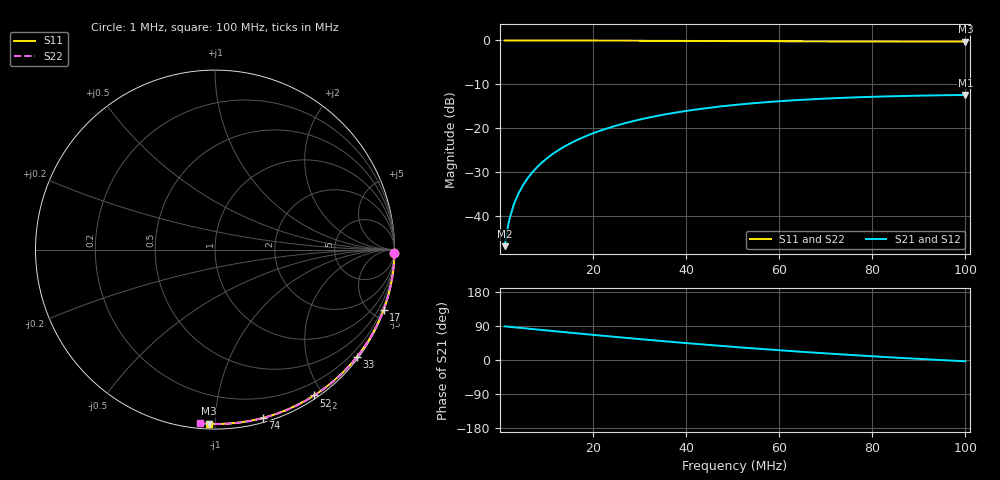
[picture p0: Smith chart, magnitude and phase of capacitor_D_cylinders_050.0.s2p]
!Created with skrf (http://scikit-rf.org).
# MHz S RI R 50.0
!freq ReS11 ImS11 ReS21 ImS21 ReS12 ImS12 ReS22 ImS22
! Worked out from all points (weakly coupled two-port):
!   100 points, 1 MHz to 100 MHz, reference 50 ohm
!   highest |S21| = -12.40 dB at 100 MHz (marker M1); lowest = -46.8 dB at 1 MHz (marker M2)
!   lowest |S11| = -0.3 dB at 100 MHz (marker M3), VSWR 67.55, Z = 1.43 - j48.4 ohm
!   |S11| at or under -10 dB: nowhere
!   |S22| runs from -0.3 to 0.0 dB; largest |S21 - S12| = 3.2e-15
!   S11 on the Smith chart (normalised r, x): 1 MHz: 0, -98; 17 MHz: 0.05, -5.77; 33 MHz: 0.05, -2.97; 52 MHz: 0.04, -1.89; 74 MHz: 0.03, -1.32; 100 MHz: 0.03, -0.97
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1  0.9998 -0.0204  9.54e-05 0.00457  9.54e-05 0.00457  0.9998 -0.0214
! Port Impedance 50.00000000000000 0.00000000000000 50.00000000000000 0.00000000000000
2  0.9991 -0.0408  0.000381 0.00912  0.000381 0.00912  0.999 -0.0428
3  0.998 -0.0611  0.000857 0.0137  0.000857 0.0137  0.9978 -0.0641
4  0.9965 -0.0814  0.00152 0.0182  0.00152 0.0182  0.9962 -0.0854
5  0.9946 -0.1016  0.00237 0.0227  0.00237 0.0227  0.994 -0.1067
6  0.9922 -0.1218  0.00341 0.0271  0.00341 0.0271  0.9914 -0.1278
8  0.9861 -0.1619  0.00603 0.0358  0.00603 0.0358  0.9848 -0.1698
11  0.974 -0.2212  0.0113 0.0483  0.0113 0.0483  0.9715 -0.2319
14  0.9582 -0.2791  0.018 0.0601  0.018 0.0601  0.9542 -0.2924
17  0.939 -0.3354  0.026 0.0708  0.026 0.0708  0.9333 -0.3511
18  0.9319 -0.3538  0.0289 0.0742  0.0289 0.0742  0.9255 -0.3702
25  0.8731 -0.4756  0.0525 0.0938  0.0525 0.0938  0.8615 -0.4963
33  0.7896 -0.5984  0.0838 0.1071  0.0838 0.1071  0.7711 -0.622
34  0.7782 -0.6124  0.0878 0.1081  0.0878 0.1081  0.7588 -0.6362
42  0.6814 -0.7134  0.1202 0.1107  0.1202 0.1107  0.6549 -0.7378
51  0.5649 -0.804  0.1542 0.1036  0.1542 0.1036  0.531 -0.8267
52  0.5517 -0.8126  0.1577 0.1023  0.1577 0.1023  0.5171 -0.8351
59  0.459 -0.8652  0.1803 0.0905  0.1803 0.0905  0.4196 -0.885
67  0.3543 -0.9103  0.2014 0.0729  0.2014 0.0729  0.3104 -0.9262
74  0.2652 -0.9381  0.2158 0.0553  0.2158 0.0553  0.2184 -0.9501
84  0.144 -0.9621  0.2299 0.0284  0.2299 0.0284  0.0948 -0.9682
100  -0.0317 -0.9703  0.2394 -0.014  0.2394 -0.014  -0.0816 -0.9674
